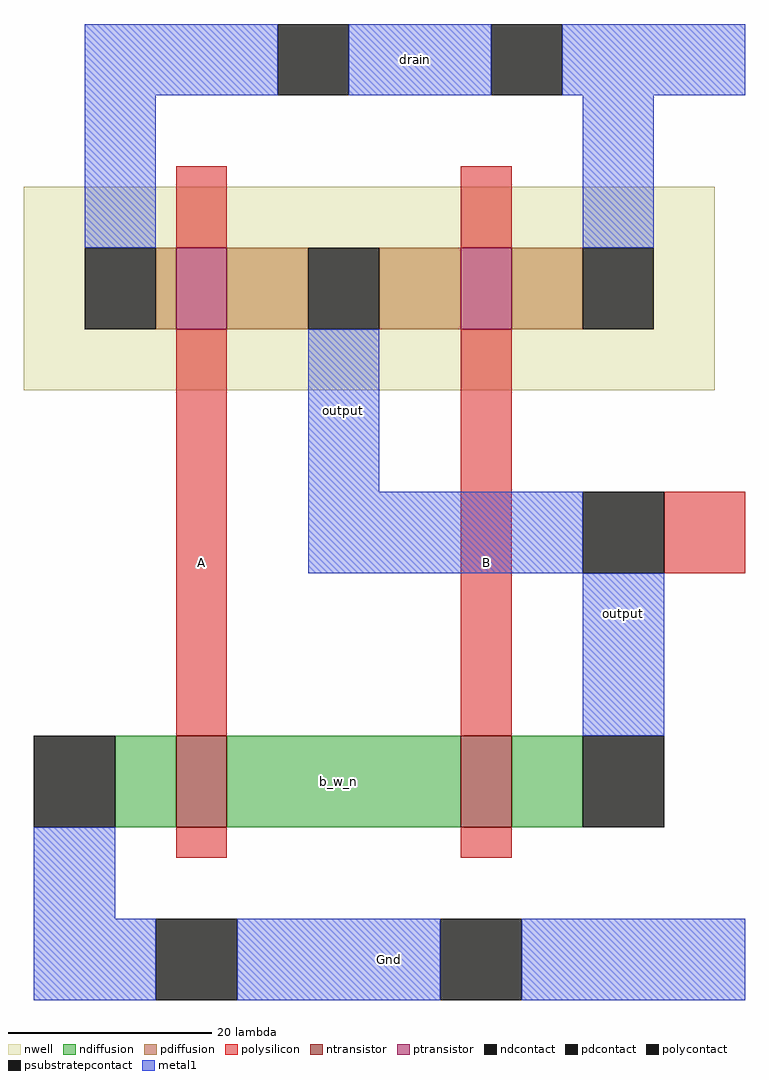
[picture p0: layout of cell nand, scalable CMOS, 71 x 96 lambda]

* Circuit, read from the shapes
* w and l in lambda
.subckt nand A B Gnd b_w_n drain output
M1 b_w_n A Gnd Gnd nfet w=9 l=5
M2 output B b_w_n Gnd nfet w=9 l=5
M3 output A drain n1 pfet w=8 l=5
M4 drain B output n1 pfet w=8 l=5
.ends

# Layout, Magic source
magic
tech scmos
<< nwell >>
rect -37 1 31 21
<< ntransistor >>
rect -22 -42 -17 -33
rect 6 -42 11 -33
<< ptransistor >>
rect -22 7 -17 15
rect 6 7 11 15
<< ndiffusion >>
rect -28 -42 -22 -33
rect -17 -42 6 -33
rect 11 -42 18 -33
<< pdiffusion >>
rect -24 7 -22 15
rect -17 7 -9 15
rect -2 7 6 15
rect 11 7 18 15
<< ndcontact >>
rect -12 30 -5 37
rect 9 30 16 37
rect -36 -42 -28 -33
rect 18 -42 26 -33
<< pdcontact >>
rect -31 7 -24 15
rect -9 7 -2 15
rect 18 7 25 15
<< psubstratepcontact >>
rect -24 -59 -16 -51
rect 4 -59 12 -51
<< polysilicon >>
rect -22 15 -17 23
rect 6 15 11 23
rect -22 -33 -17 7
rect 6 -33 11 7
rect 26 -17 34 -9
rect -22 -45 -17 -42
rect 6 -45 11 -42
<< polycontact >>
rect 18 -17 26 -9
<< metal1 >>
rect -31 30 -12 37
rect -5 30 9 37
rect 16 30 34 37
rect -31 15 -24 30
rect 18 15 25 30
rect -9 -9 -2 7
rect -9 -17 18 -9
rect 18 -33 26 -17
rect -36 -51 -28 -42
rect -36 -59 -24 -51
rect -16 -59 4 -51
rect 12 -59 34 -51
<< labels >>
rlabel ndiffusion -11 -42 -1 -33 1 b_w_n
rlabel metal1 -36 -59 34 -51 1 Gnd
rlabel metal1 -31 30 34 37 5 drain
rlabel metal1 -9 -17 -2 15 1 output
rlabel metal1 18 -33 26 -9 1 output
rlabel polysilicon -22 -33 -17 1 1 A
rlabel polysilicon 6 -33 11 1 1 B
<< end >>
